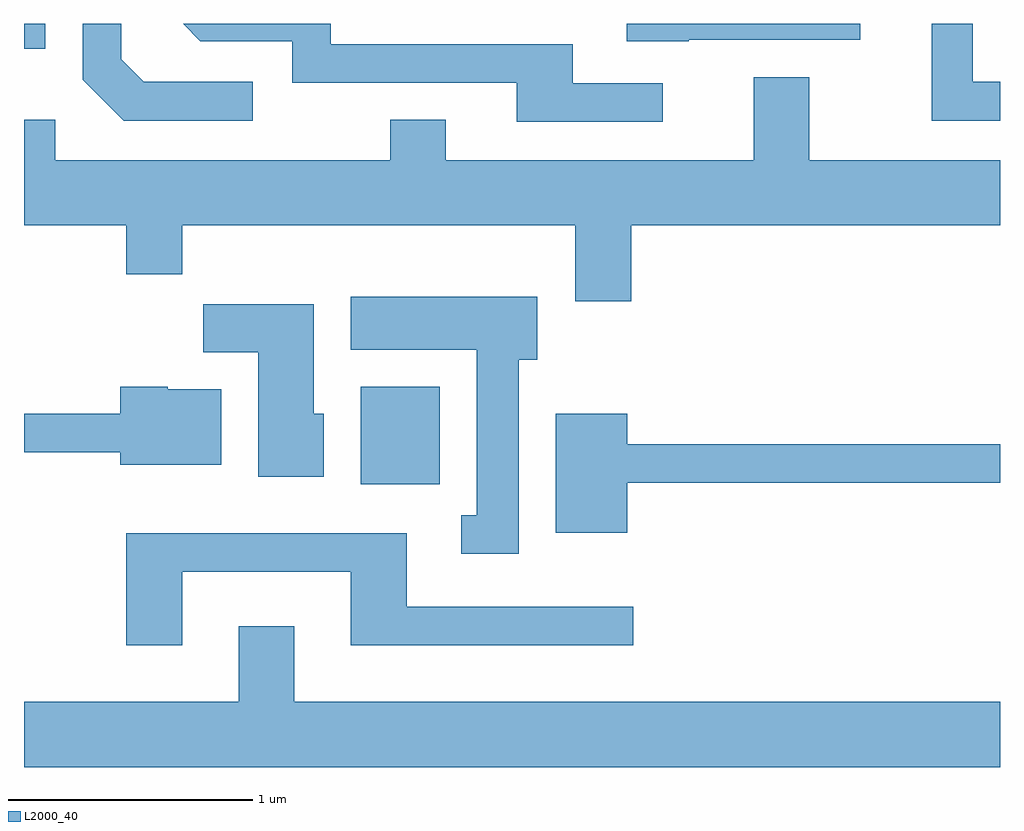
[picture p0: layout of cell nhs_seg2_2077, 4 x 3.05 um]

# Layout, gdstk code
import gdstk
lib = gdstk.Library(unit=1e-6, precision=1e-09)
def R(c, l, rs):  # rectangles x0, y0, x1, y1
    for r in rs: c.add(gdstk.rectangle(r[:2], r[2:], *l))
def P(c, l, *ps):  # polygons
    for p in ps: c.add(gdstk.Polygon(p, *l))
L2000_40 = (2000, 40)

nhs_seg2_2077 = lib.new_cell('nhs_seg2_2077')
R(nhs_seg2_2077, L2000_40, [(246.991,1053.916,247.314,1054.314), (245.611,1055.701,245.699,1055.802)])
P(nhs_seg2_2077, L2000_40, [(248.335,1055.736),(249.039,1055.736),(249.039,1055.802),(248.081,1055.802),(248.081,1055.731),(248.335,1055.731)],
  [(248.228,1055.559),(247.859,1055.559),(247.859,1055.719),(246.869,1055.719),(246.869,1055.802),(246.263,1055.802),(246.334,1055.731),(246.711,1055.731),(246.711,1055.561),(247.631,1055.561),(247.631,1055.401),(248.228,1055.401)],
  [(249.611,1055.564),(249.499,1055.564),(249.499,1055.802),(249.331,1055.802),(249.331,1055.406),(249.611,1055.406)],
  [(246.548,1055.564),(246.102,1055.564),(246.009,1055.657),(246.009,1055.802),(245.851,1055.802),(245.851,1055.574),(246.019,1055.406),(246.548,1055.406)],
  [(248.099,1054.976),(249.611,1054.976),(249.611,1055.244),(248.829,1055.244),(248.829,1055.584),(248.601,1055.584),(248.601,1055.244),(247.339,1055.244),(247.339,1055.409),(247.111,1055.409),(247.111,1055.244),(245.739,1055.244),(245.739,1055.409),(245.611,1055.409),(245.611,1054.976),(246.031,1054.976),(246.031,1054.776),(246.259,1054.776),(246.259,1054.976),(247.871,1054.976),(247.871,1054.666),(248.099,1054.666)],
  [(247.639,1054.426),(247.714,1054.426),(247.714,1054.684),(246.951,1054.684),(246.951,1054.466),(247.466,1054.466),(247.466,1053.789),(247.403,1053.789),(247.403,1053.631),(247.639,1053.631)],
  [(246.839,1054.204),(246.799,1054.204),(246.799,1054.654),(246.346,1054.654),(246.346,1054.456),(246.571,1054.456),(246.571,1053.946),(246.839,1053.946)],
  [(246.419,1054.304),(246.2,1054.304),(246.2,1054.314),(246.006,1054.314),(246.006,1054.204),(245.611,1054.204),(245.611,1054.046),(246.006,1054.046),(246.006,1053.996),(246.419,1053.996)],
  [(248.084,1053.921),(249.611,1053.921),(249.611,1054.079),(248.084,1054.079),(248.084,1054.204),(247.791,1054.204),(247.791,1053.716),(248.084,1053.716)],
  [(246.259,1053.556),(246.951,1053.556),(246.951,1053.256),(248.108,1053.256),(248.108,1053.414),(247.179,1053.414),(247.179,1053.714),(246.031,1053.714),(246.031,1053.256),(246.259,1053.256)],
  [(249.611,1053.024),(246.719,1053.024),(246.719,1053.334),(246.491,1053.334),(246.491,1053.024),(245.611,1053.024),(245.611,1052.756),(249.611,1052.756)])

lib.write_gds('nhs_seg2_2077.gds')
